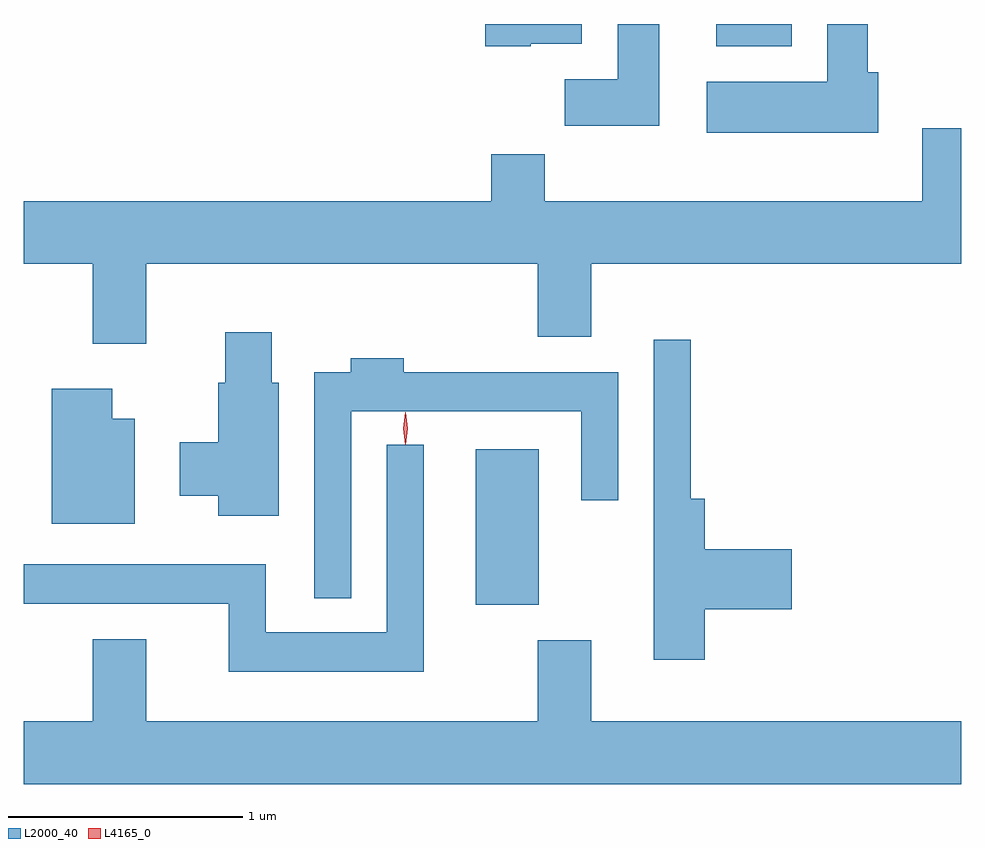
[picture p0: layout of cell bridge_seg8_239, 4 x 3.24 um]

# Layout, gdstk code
import gdstk
lib = gdstk.Library(unit=1e-6, precision=1e-09)
def R(c, l, rs):  # rectangles x0, y0, x1, y1
    for r in rs: c.add(gdstk.rectangle(r[:2], r[2:], *l))
def P(c, l, *ps):  # polygons
    for p in ps: c.add(gdstk.Polygon(p, *l))
L2000_40 = (2000, 40)
L4165_0 = (4165, 0)

bridge_seg8_239 = lib.new_cell('bridge_seg8_239')
R(bridge_seg8_239, L2000_40, [(1111.766,1861.601,1112.034,1862.264), (1112.791,1863.986,1113.114,1864.08)])
P(bridge_seg8_239, L2000_40, [(1112.549,1864.08),(1112.371,1864.08),(1112.371,1863.844),(1112.146,1863.844),(1112.146,1863.646),(1112.549,1863.646)],
  [(1112,1863.996),(1112.219,1863.996),(1112.219,1864.08),(1111.806,1864.08),(1111.806,1863.986),(1112,1863.986)],
  [(1113.484,1863.874),(1113.439,1863.874),(1113.439,1864.08),(1113.266,1864.08),(1113.266,1863.834),(1112.751,1863.834),(1112.751,1863.616),(1113.484,1863.616)],
  [(1110.359,1863.056),(1112.031,1863.056),(1112.031,1862.746),(1112.259,1862.746),(1112.259,1863.056),(1113.837,1863.056),(1113.837,1863.634),(1113.671,1863.634),(1113.671,1863.324),(1112.059,1863.324),(1112.059,1863.524),(1111.831,1863.524),(1111.831,1863.324),(1109.837,1863.324),(1109.837,1863.056),(1110.131,1863.056),(1110.131,1862.716),(1110.359,1862.716)],
  [(1110.924,1862.549),(1110.894,1862.549),(1110.894,1862.764),(1110.696,1862.764),(1110.696,1862.549),(1110.666,1862.549),(1110.666,1862.294),(1110.501,1862.294),(1110.501,1862.066),(1110.666,1862.066),(1110.666,1861.981),(1110.924,1861.981)],
  [(1112.744,1861.581),(1113.114,1861.581),(1113.114,1861.839),(1112.744,1861.839),(1112.744,1862.054),(1112.684,1862.054),(1112.684,1862.733),(1112.526,1862.733),(1112.526,1861.366),(1112.744,1861.366)],
  [(1111.234,1862.426),(1112.216,1862.426),(1112.216,1862.048),(1112.374,1862.048),(1112.374,1862.594),(1111.459,1862.594),(1111.459,1862.654),(1111.231,1862.654),(1111.231,1862.594),(1111.076,1862.594),(1111.076,1861.628),(1111.234,1861.628)],
  [(1110.309,1862.394),(1110.214,1862.394),(1110.214,1862.524),(1109.956,1862.524),(1109.956,1861.946),(1110.309,1861.946)],
  [(1111.544,1862.283),(1111.386,1862.283),(1111.386,1861.484),(1110.869,1861.484),(1110.869,1861.774),(1109.837,1861.774),(1109.837,1861.606),(1110.711,1861.606),(1110.711,1861.316),(1111.544,1861.316)],
  [(1113.837,1861.104),(1112.259,1861.104),(1112.259,1861.449),(1112.031,1861.449),(1112.031,1861.104),(1110.359,1861.104),(1110.359,1861.454),(1110.131,1861.454),(1110.131,1861.104),(1109.837,1861.104),(1109.837,1860.836),(1113.837,1860.836)])
P(bridge_seg8_239, L4165_0, [(1111.465,1862.284),(1111.465,1862.284),(1111.455,1862.353),(1111.465,1862.423),(1111.465,1862.423),(1111.466,1862.423),(1111.475,1862.353),(1111.466,1862.284)])

lib.write_gds('bridge_seg8_239.gds')
